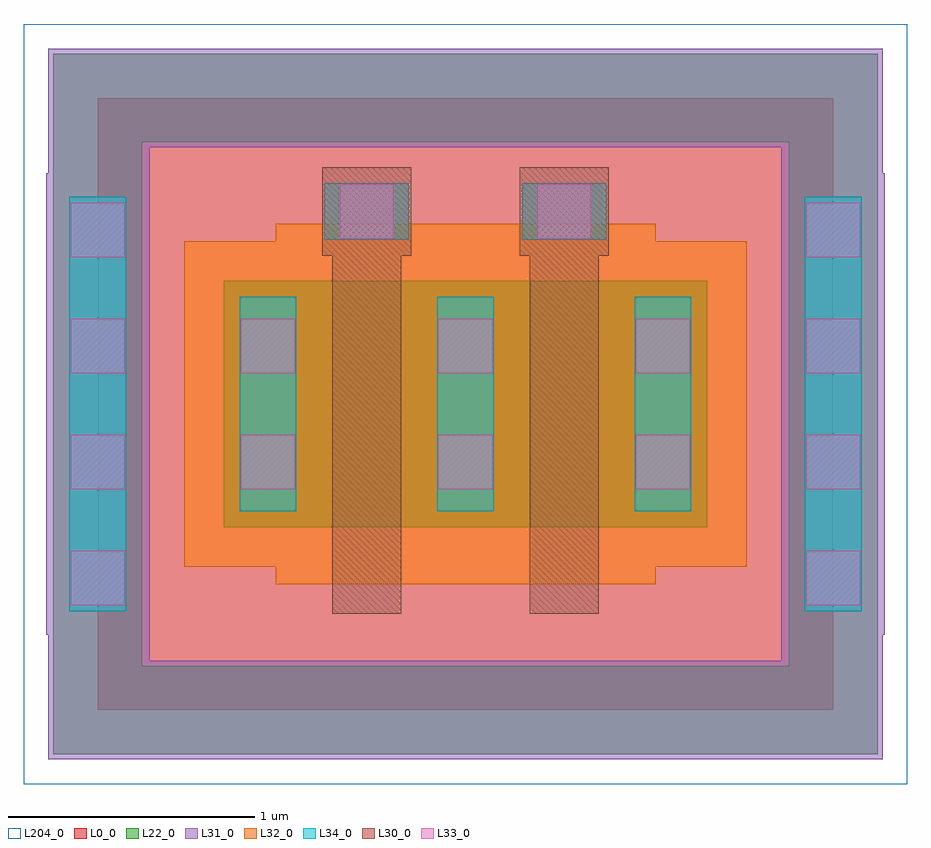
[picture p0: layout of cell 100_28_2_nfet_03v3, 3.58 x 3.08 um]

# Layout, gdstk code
import gdstk
lib = gdstk.Library(unit=1e-6, precision=1e-09)
def R(c, l, rs):  # rectangles x0, y0, x1, y1
    for r in rs: c.add(gdstk.rectangle(r[:2], r[2:], *l))
def A(c, l, x, y, w, h, nx, ny, dx, dy):  # array of equal rectangles
    R(c, l, [(x+i*dx, y+j*dy, x+i*dx+w, y+j*dy+h) for i in range(nx) for j in range(ny)])
L0_0 = (0, 0)
L22_0 = (22, 0)
L30_0 = (30, 0)
L31_0 = (31, 0)
L32_0 = (32, 0)
L33_0 = (33, 0)
L34_0 = (34, 0)
L204_0 = (204, 0)

c_100_28_2_nfet_03v3 = lib.new_cell('100_28_2_nfet_03v3')
R(c_100_28_2_nfet_03v3, L0_0, [(-1.49,-1.24,1.49,1.24)])
R(c_100_28_2_nfet_03v3, L22_0, [(-1.67,-1.42,1.67,-1.06), (-1.67,-1.06,-1.31,1.06), (1.31,-1.06,1.67,1.06), (-0.98,-0.5,0.98,0.5), (-1.67,1.06,1.67,1.42)])
R(c_100_28_2_nfet_03v3, L30_0, [(-0.54,-0.85,-0.26,0.6), (0.26,-0.85,0.54,0.6), (-0.58,0.6,-0.22,0.96), (0.22,0.6,0.58,0.96)])
R(c_100_28_2_nfet_03v3, L31_0, [(-1.69,-1.44,1.69,-1.04), (-1.69,-1.04,-1.28,-0.935), (1.28,-1.04,1.69,-0.935), (-1.7,-0.935,-1.28,0.935), (1.28,-0.935,1.7,0.935), (-1.69,0.935,-1.28,1.04), (1.28,0.935,1.69,1.04), (-1.69,1.04,1.69,1.44)])
R(c_100_28_2_nfet_03v3, L32_0, [(-0.77,-0.73,0.77,-0.66), (-1.14,-0.66,1.14,0.66), (-0.77,0.66,0.77,0.73)])
A(c_100_28_2_nfet_03v3, L33_0, -1.6, -0.815, 0.22, 0.22, 1, 4, 0, 0.47)
A(c_100_28_2_nfet_03v3, L33_0, 1.38, -0.815, 0.22, 0.22, 1, 4, 0, 0.47)
A(c_100_28_2_nfet_03v3, L33_0, -0.91, -0.345, 0.22, 0.22, 3, 2, 0.8, 0.47)
R(c_100_28_2_nfet_03v3, L33_0, [(-0.51,0.67,-0.29,0.89), (0.29,0.67,0.51,0.89)])
A(c_100_28_2_nfet_03v3, L34_0, -0.915, -0.435, 0.23, 0.87, 3, 1, 0.8, 0)
R(c_100_28_2_nfet_03v3, L34_0, [(-1.605,-0.84,-1.375,0.84), (1.375,-0.84,1.605,0.84), (-0.57,0.665,-0.23,0.895), (0.23,0.665,0.57,0.895)])
R(c_100_28_2_nfet_03v3, L204_0, [(-1.79,-1.54,1.79,1.54)])

lib.write_gds('100_28_2_nfet_03v3.gds')
